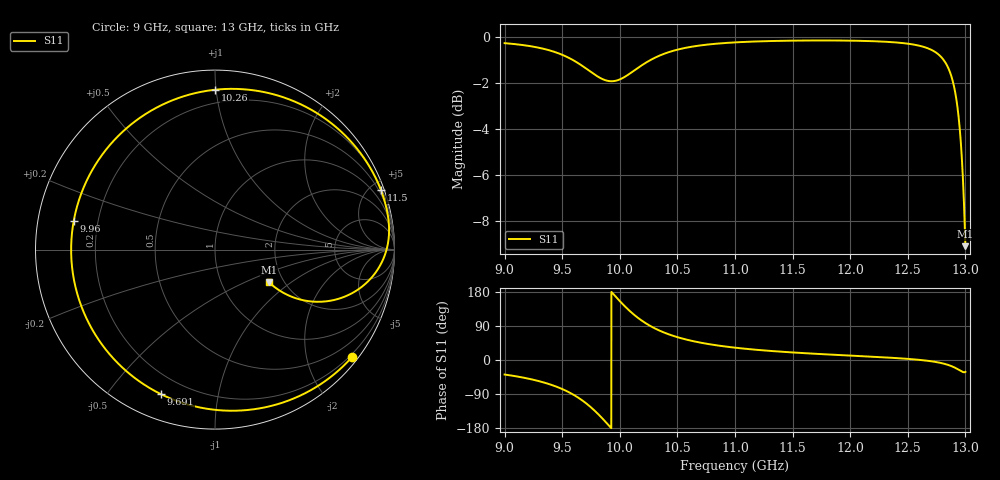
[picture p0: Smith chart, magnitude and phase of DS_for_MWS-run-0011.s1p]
! TOUCHSTONE file generated by CST DESIGN STUDIO
! Date and time: Tue Feb  4 17:38:04 2025
! Project name: C:\Work\MatlabApps\UnitCellOptimizationMatlab\CST\unitcell.cst
! Tree item: Tasks\Sweep1\SPara1\S-Parameters
! Header version: 2024
! Port assignment regex: !\s*Touchstone port\s*([0-9]+)\s*=\s*(CST MWS port|CST DES external port|CST DES block port)\s*(.+)\s* \(\"(.*)\"\)(\s*mode\s*([0-9]+))?.*
! Touchstone port assignment:
! Touchstone port 1 = CST DES external port 1 ("")
# GHz S MA R 50
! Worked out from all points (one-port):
!   4001 points, 9 GHz to 13 GHz, reference 50 ohm
!   lowest |S11| = -9.1 dB at 13 GHz (marker M1), VSWR 2.08, Z = 83.9 - j34.9 ohm
!   |S11| at or under -10 dB: nowhere
!   S11 on the Smith chart (normalised r, x): 9 GHz: 0.14, -2.87; 9.691 GHz: 0.11, -0.69; 9.96 GHz: 0.11, +0.10; 10.26 GHz: 0.12, +0.99; 11.5 GHz: 0.30, +5.70; 13 GHz: 1.68, -0.70
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9  0.9698 -38.3
9.282  0.9495 -54.5
9.397  0.9344 -64.7
9.5  0.915 -76.6
9.605  0.8879 -92.9
9.691  0.86 -110.4
9.769  0.8331 -130.2
9.847  0.8109 -153.6
9.904  0.8025 -172.5
9.96  0.8032 168.6
10  0.809 155.4
10.064  0.8256 135.7
10.126  0.8461 118.9
10.191  0.8682 103.9
10.264  0.8907 89.9
10.378  0.9183 73.2
10.5  0.9388 60.3
10.716  0.9601 44.9
11  0.9735 32.5
11.5  0.9821 19.9
11.504  0.9821 19.8
12  0.9821 11.6
12.5  0.9673 3.0
12.72  0.9336 -4.1
12.843  0.8653 -12.3
12.894  0.7954 -18.1
12.937  0.6852 -24.9
13  0.3514 -31.2
